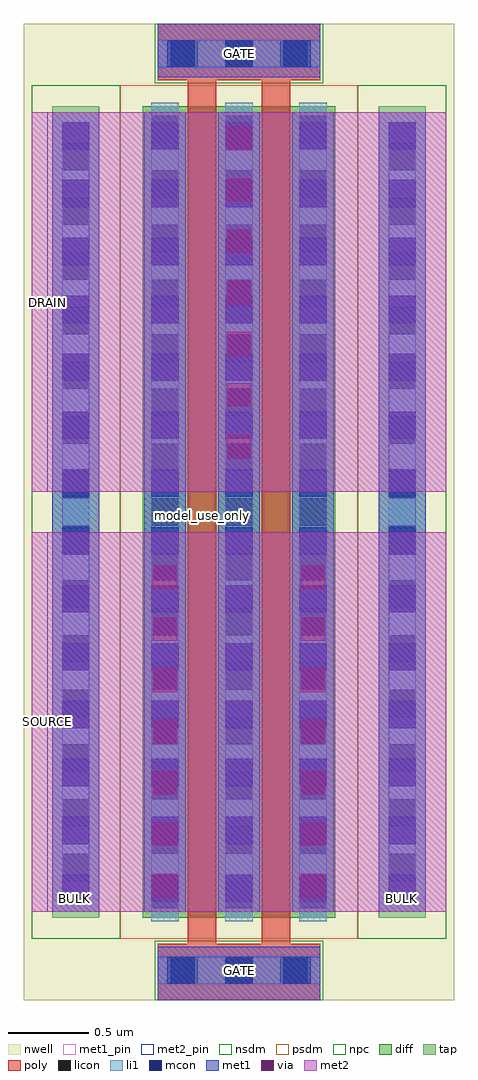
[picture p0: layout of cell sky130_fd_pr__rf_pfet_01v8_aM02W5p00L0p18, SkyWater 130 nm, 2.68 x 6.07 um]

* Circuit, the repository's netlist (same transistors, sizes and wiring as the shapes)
* Copyright 2020 The SkyWater PDK Authors
*
* Licensed under the Apache License, Version 2.0 (the "License");
* you may not use this file except in compliance with the License.
* You may obtain a copy of the License at
*
*     https://www.apache.org/licenses/LICENSE-2.0
*
* Unless required by applicable law or agreed to in writing, software
* distributed under the License is distributed on an "AS IS" BASIS,
* WITHOUT WARRANTIES OR CONDITIONS OF ANY KIND, either express or implied.
* See the License for the specific language governing permissions and
* limitations under the License.
*
* SPDX-License-Identifier: Apache-2.0


.subckt sky130_fd_pr__rf_pfet_01v8_aM02W5p00L0p18 BULK DRAIN GATE SOURCE
X0 SOURCE GATE DRAIN BULK sky130_fd_pr__pfet_01v8 w=5.05e+06u l=180000u
X1 DRAIN GATE SOURCE BULK sky130_fd_pr__pfet_01v8 w=5.05e+06u l=180000u
.ends

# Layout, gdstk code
import gdstk
lib = gdstk.Library(unit=1e-6, precision=1e-09)
def R(c, l, rs):  # rectangles x0, y0, x1, y1
    for r in rs: c.add(gdstk.rectangle(r[:2], r[2:], *l))
def A(c, l, x, y, w, h, nx, ny, dx, dy):  # array of equal rectangles
    R(c, l, [(x+i*dx, y+j*dy, x+i*dx+w, y+j*dy+h) for i in range(nx) for j in range(ny)])
nwell = (64, 20)
diff = (65, 20)
tap = (65, 44)
poly = (66, 20)
licon = (66, 44)
li1 = (67, 20)
mcon = (67, 44)
met1_pin = (68, 16)
met1 = (68, 20)
via = (68, 44)
met2_pin = (69, 16)
met2 = (69, 20)
nsdm = (93, 44)
psdm = (94, 20)
npc = (95, 20)

sky130_fd_pr__rf_pfet_01 = lib.new_cell('sky130_fd_pr__rf_pfet_01v8_aM02W5p00L0p18')
R(sky130_fd_pr__rf_pfet_01, nwell, [(0,0,2.68,6.07)])
R(sky130_fd_pr__rf_pfet_01, diff, [(0.74,0.51,1.94,5.56)])
R(sky130_fd_pr__rf_pfet_01, tap, [(0.18,0.51,0.47,5.56), (2.21,0.51,2.5,5.56)])
R(sky130_fd_pr__rf_pfet_01, poly, [(0.835,0,1.845,0.35), (1.02,0.35,1.2,5.72), (1.48,0.35,1.66,5.72), (0.835,5.72,1.845,6.07)])
A(sky130_fd_pr__rf_pfet_01, licon, 0.915, 0.1, 0.17, 0.17, 3, 2, 0.34, 5.7)
A(sky130_fd_pr__rf_pfet_01, licon, 0.795, 0.57, 0.17, 0.17, 3, 15, 0.46, 0.34)
A(sky130_fd_pr__rf_pfet_01, licon, 0.24, 0.74, 0.17, 0.17, 1, 14, 0, 0.34)
A(sky130_fd_pr__rf_pfet_01, licon, 2.27, 0.74, 0.17, 0.17, 1, 14, 0, 0.34)
A(sky130_fd_pr__rf_pfet_01, li1, 0.795, 0.49, 0.17, 5.09, 3, 1, 0.46, 0)
A(sky130_fd_pr__rf_pfet_01, li1, 0.795, 1.69, 0.17, 2.69, 3, 1, 0.46, 0)
R(sky130_fd_pr__rf_pfet_01, li1, [(0.835,0.1,1.845,0.27), (0.895,0.1,1.785,0.27), (0.24,0.61,0.41,5.46), (2.27,0.61,2.44,5.46), (0.24,0.66,0.41,5.41), (2.27,0.66,2.44,5.41), (0.24,1.68,0.41,4.39), (2.27,1.68,2.44,4.39), (0.835,5.8,1.845,5.97), (0.895,5.8,1.785,5.97)])
A(sky130_fd_pr__rf_pfet_01, mcon, 0.895, 0.1, 0.17, 0.17, 3, 2, 0.36, 5.7)
A(sky130_fd_pr__rf_pfet_01, mcon, 0.24, 0.61, 0.17, 0.17, 1, 14, 0, 0.36)
A(sky130_fd_pr__rf_pfet_01, mcon, 0.795, 0.61, 0.17, 0.17, 3, 14, 0.46, 0.36)
A(sky130_fd_pr__rf_pfet_01, mcon, 2.27, 0.61, 0.17, 0.17, 1, 14, 0, 0.36)
R(sky130_fd_pr__rf_pfet_01, met1_pin, [(0.835,0,1.845,0.33), (0.18,0.55,0.47,0.63), (2.21,0.55,2.5,0.63), (0.835,5.74,1.845,6.07)])
A(sky130_fd_pr__rf_pfet_01, met1, 0.75, 0.55, 0.26, 4.97, 3, 1, 0.46, 0)
R(sky130_fd_pr__rf_pfet_01, met1, [(0.835,0,1.845,0.33), (0.18,0.55,0.47,5.52), (0.75,0.55,1.01,2.79), (1.67,0.55,1.93,2.79), (2.21,0.55,2.5,5.52), (1.21,3.28,1.47,5.52), (0.835,5.74,1.845,6.07)])
A(sky130_fd_pr__rf_pfet_01, via, 0.805, 0.635, 0.15, 0.15, 1, 7, 0, 0.32)
A(sky130_fd_pr__rf_pfet_01, via, 1.725, 0.635, 0.15, 0.15, 1, 7, 0, 0.32)
A(sky130_fd_pr__rf_pfet_01, via, 1.265, 3.365, 0.15, 0.15, 1, 7, 0, 0.32)
R(sky130_fd_pr__rf_pfet_01, met2_pin, [(0.05,0.55,0.15,2.91), (0.05,3.16,0.15,5.52)])
R(sky130_fd_pr__rf_pfet_01, met2, [(0.05,0.55,2.63,2.91), (0.75,0.55,1.01,2.79), (1.67,0.55,1.93,2.79), (0.05,3.16,2.63,5.52), (1.21,3.28,1.47,5.52)])
R(sky130_fd_pr__rf_pfet_01, nsdm, [(0.05,0.38,0.6,5.69), (2.08,0.38,2.63,5.69)])
R(sky130_fd_pr__rf_pfet_01, psdm, [(0.6,0.38,2.08,5.69)])
R(sky130_fd_pr__rf_pfet_01, npc, [(0.815,0,1.865,0.37), (0.815,5.7,1.865,6.07)])
sky130_fd_pr__rf_pfet_01.add(gdstk.Label('model_use_only', (1.11,3.015), layer=66, texttype=83))
sky130_fd_pr__rf_pfet_01.add(gdstk.Label('model_use_only', (1.57,3.015), layer=66, texttype=83))
sky130_fd_pr__rf_pfet_01.add(gdstk.Label('SOURCE', (0.15,1.73), layer=69, texttype=5))
sky130_fd_pr__rf_pfet_01.add(gdstk.Label('DRAIN', (0.15,4.34), layer=69, texttype=5))
sky130_fd_pr__rf_pfet_01.add(gdstk.Label('BULK', (2.35,0.63), layer=68, texttype=5))
sky130_fd_pr__rf_pfet_01.add(gdstk.Label('GATE', (1.34,0.185), layer=68, texttype=5))
sky130_fd_pr__rf_pfet_01.add(gdstk.Label('GATE', (1.34,5.885), layer=68, texttype=5))
sky130_fd_pr__rf_pfet_01.add(gdstk.Label('BULK', (0.32,0.63), layer=68, texttype=5))

lib.write_gds('sky130_fd_pr__rf_pfet_01v8_aM02W5p00L0p18.gds')
